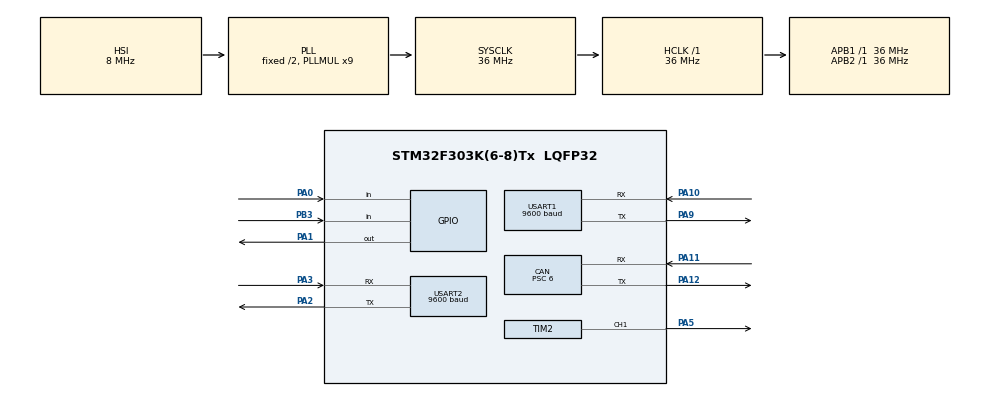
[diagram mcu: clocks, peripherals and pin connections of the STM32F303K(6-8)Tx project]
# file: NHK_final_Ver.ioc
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CAN.BS1=CAN_BS1_3TQ
CAN.BS2=CAN_BS2_2TQ
CAN.CalculateTimeQuantum=166.66666666666669
CAN.Prescaler=6
Mcu.Family=STM32F3
Mcu.Name=STM32F303K(6-8)Tx
Mcu.Package=LQFP32
NVIC.CAN_RX0_IRQn=true\:0\:0\:false\:false\:true\:true\:true
NVIC.PriorityGroup=NVIC_PRIORITYGROUP_4
NVIC.TIM2_IRQn=true\:0\:0\:false\:false\:true\:true\:true
NVIC.TIM6_DAC1_IRQn=true\:0\:0\:false\:false\:true\:true\:true
NVIC.TIM7_DAC2_IRQn=true\:0\:0\:false\:false\:true\:true\:true
NVIC.USART2_IRQn=true\:0\:0\:false\:false\:true\:true\:true
PA0.Signal=GPIO_Input
PA1.Signal=GPIO_Output
PA10.Mode=Asynchronous
PA10.Signal=USART1_RX
PA11.Mode=Master
PA11.Signal=CAN_RX
PA12.Mode=Master
PA12.Signal=CAN_TX
PA2.Mode=Asynchronous
PA2.Signal=USART2_TX
PA3.Mode=Asynchronous
PA3.Signal=USART2_RX
PA5.Signal=S_TIM2_CH1_ETR
PA9.Mode=Asynchronous
PA9.Signal=USART1_TX
PB3.Signal=GPIO_Input
ProjectManager.HeapSize=0x200
ProjectManager.StackSize=0x400
ProjectManager.TargetToolchain=SW4STM32
RCC.AHBFreq_Value=36000000
RCC.APB1Freq_Value=36000000
RCC.APB1TimFreq_Value=36000000
RCC.APB2Freq_Value=36000000
RCC.APB2TimFreq_Value=36000000
RCC.CortexFreq_Value=36000000
RCC.HCLKFreq_Value=36000000
RCC.HSE_VALUE=8000000
RCC.HSI_VALUE=8000000
RCC.PLLMUL=RCC_PLL_MUL9
RCC.SYSCLKFreq_VALUE=36000000
RCC.SYSCLKSourceVirtual=RCC_SYSCLKSOURCE_PLLCLK
SH.S_TIM2_CH1_ETR.0=TIM2_CH1,PWM Generation1 CH1
TIM2.Channel-PWM\ Generation1\ CH1=TIM_CHANNEL_1
TIM2.Period=720-1
TIM2.Prescaler=1000-1
USART1.BaudRate=9600
USART1.VirtualMode-Asynchronous=VM_ASYNC
USART2.BaudRate=9600
USART2.VirtualMode-Asynchronous=VM_ASYNC
VP_TIM2_VS_ClockSourceINT.Mode=Internal
VP_TIM3_VS_ClockSourceINT.Mode=Internal
VP_TIM6_VS_ClockSourceINT.Mode=Enable_Timer
VP_TIM7_VS_ClockSourceINT.Mode=Enable_Timer
board=custom

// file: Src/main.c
/* USER CODE BEGIN Header */
/**
  ******************************************************************************
  * @file           : main.c
  * @brief          : Main program body
  ******************************************************************************
  * @attention
  *
  * <h2><center>&copy; Copyright (c) 2021 STMicroelectronics.
  * All rights reserved.</center></h2>
  *
  * This software component is licensed by ST under BSD 3-Clause license,
  * the "License"; You may not use this file except in compliance with the
  * License. You may obtain a copy of the License at:
  *                        opensource.org/licenses/BSD-3-Clause
  *
  ******************************************************************************
  */
/* USER CODE END Header */
#include "main.h"
#include "can.h"
#include "tim.h"
#include "usart.h"
#include "gpio.h"

/* USER CODE BEGIN Includes */
#include"stm32_printf.h"
#include"ps3.h"
#include "canmd_controller.h"
#include"stm32f4_easy_can.h"
/* USER CODE END Includes */

/* USER CODE BEGIN PV */

	//グロバル変数
 	 static uint8_t uart2_buf[8];
/* USER CODE END PV */

void SystemClock_Config(void);
/* USER CODE BEGIN PFP */
void canmd_status_set_data(int canmd_num,int motor_select,unsigned int DutyOrPid,int p_value,int i_value,int d_value);
/* USER CODE END PFP */

/* USER CODE BEGIN 0 */
	int serve=0;
/* USER CODE END 0 */

int main(void)
{

  /* MCU Configuration--------------------------------------------------------*/

  /* Reset of all peripherals, Initializes the Flash interface and the Systick. */
  HAL_Init();

  /* Configure the system clock */
  SystemClock_Config();

  /* Initialize all configured peripherals */
  MX_GPIO_Init();
  MX_TIM6_Init();
  MX_TIM7_Init();
  MX_CAN_Init();
  MX_USART1_UART_Init();
  MX_USART2_UART_Init();
  MX_TIM3_Init();
  MX_TIM2_Init();
  /* USER CODE BEGIN 2 */

  stm32_printf_init(&huart1);
  HAL_UART_Receive_IT(&huart2,uart2_buf,8);
  canmd_controller_init();
  ps3_init();
  stm32f4_easy_can_init(&hcan,0,0b11111);
  //canmd_controller_clear_all_encoder_count();
  HAL_Delay(500);
  canmd_status_set_data(1,0,0,50,50,50);
  canmd_status_set_data(1,1,0,50,50,50);
  canmd_status_set_data(2,0,0,50,50,50);
  canmd_status_set_data(2,1,0,50,50,50);

  HAL_TIM_Base_Start_IT(&htim6);
  HAL_TIM_Base_Start_IT(&htim7);
  HAL_TIM_Base_Start_IT(&htim3);
  //HAL_TIM_Base_Start_IT(&htim2);
  //HAL_TIM_PWM_Start(&htim2,TIM_CHANNEL_1);
  //if(HAL_TIM_PWM_Start(&htim2,TIM_CHANNEL_1)!=HAL_OK)	Error_Handler();
  /* USER CODE END 2 */

  /* Infinite loop */
  /* USER CODE BEGIN WHILE */
  while (1)
  {

	  int encoder[5][2];

	  Ps3 ps3_data;
	  ps3_get_data(&ps3_data);

	  //エア制御
	  if(ps3_data.sankaku==1)	HAL_GPIO_WritePin(GPIOA,GPIO_PIN_1,SET);
	  if(ps3_data.batsu==1)	HAL_GPIO_WritePin(GPIOA,GPIO_PIN_1,RESET);

	  if(ps3_data.R1==1)	TIM2->CCR1=70;
	  if(ps3_data.R2==1)	TIM2->CCR1=15;

	  /*
	  //CCRは15から83まで
	  for(int i=15;i<=83;i++){
		  TIM2->CCR1=i;
		  HAL_Delay(70);
	  }
	  */
	  /*
	  for(int i=0;i<=720;i++){
		  TIM2->CCR1=i;
	  }
	*/
	  for (int md_id_i = 1; md_id_i <= 4; md_id_i++) {
	   canmd_controller_get_encoder_count(md_id_i, &encoder[md_id_i][0], &encoder[md_id_i][1]);
	  }
	  HAL_Delay(100);
    /* USER CODE END WHILE */

  }
}

void SystemClock_Config(void)
{
  RCC_OscInitTypeDef RCC_OscInitStruct = {0};
  RCC_ClkInitTypeDef RCC_ClkInitStruct = {0};
  RCC_PeriphCLKInitTypeDef PeriphClkInit = {0};

  /** Initializes the RCC Oscillators according to the specified parameters
  * in the RCC_OscInitTypeDef structure.
  */
  RCC_OscInitStruct.OscillatorType = RCC_OSCILLATORTYPE_HSI;
  RCC_OscInitStruct.HSIState = RCC_HSI_ON;
  RCC_OscInitStruct.HSICalibrationValue = RCC_HSICALIBRATION_DEFAULT;
  RCC_OscInitStruct.PLL.PLLState = RCC_PLL_ON;
  RCC_OscInitStruct.PLL.PLLSource = RCC_PLLSOURCE_HSI;
  RCC_OscInitStruct.PLL.PLLMUL = RCC_PLL_MUL9;
  if (HAL_RCC_OscConfig(&RCC_OscInitStruct) != HAL_OK)
  {
    Error_Handler();
  }
  /** Initializes the CPU, AHB and APB buses clocks
  */
  RCC_ClkInitStruct.ClockType = RCC_CLOCKTYPE_HCLK|RCC_CLOCKTYPE_SYSCLK
                              |RCC_CLOCKTYPE_PCLK1|RCC_CLOCKTYPE_PCLK2;
  RCC_ClkInitStruct.SYSCLKSource = RCC_SYSCLKSOURCE_PLLCLK;
  RCC_ClkInitStruct.AHBCLKDivider = RCC_SYSCLK_DIV1;
  RCC_ClkInitStruct.APB1CLKDivider = RCC_HCLK_DIV1;
  RCC_ClkInitStruct.APB2CLKDivider = RCC_HCLK_DIV1;

  if (HAL_RCC_ClockConfig(&RCC_ClkInitStruct, FLASH_LATENCY_1) != HAL_OK)
  {
    Error_Handler();
  }
  PeriphClkInit.PeriphClockSelection = RCC_PERIPHCLK_USART1;
  PeriphClkInit.Usart1ClockSelection = RCC_USART1CLKSOURCE_PCLK1;
  if (HAL_RCCEx_PeriphCLKConfig(&PeriphClkInit) != HAL_OK)
  {
    Error_Handler();
  }
}

/* USER CODE BEGIN 4 */

	//UART受信割り込み関数

	void HAL_UART_RxCpltCallback(UART_HandleTypeDef *huart)
		{
			if(huart->Instance == huart2.Instance) {
				ps3_uart_interrupt_routine(uart2_buf,8);
				HAL_UART_Receive_IT(&huart2,uart2_buf,8);
			}
		}

	void canmd_status_set_data(int canmd_num,int motor_select,unsigned int DutyOrPid,int p_value,int i_value,int d_value)
		{
			int id;
			int dlc = 4;
			unsigned char data[8];

			id = canmd_num;

			data[0] = ((motor_select << 6) & 0b11000000 ) | DutyOrPid;
			data[1] = p_value & 0XFF;
			data[2] = i_value & 0XFF;
			data[3] = d_value & 0XFF;

			HAL_Delay(100);

			stm32f4_easy_can_transmit_message(id, dlc, data);
		}

	void stm32f3_easy_can_interrupt_handler(void)
		{
			int id;
			int dlc;
			unsigned char data[8];

			stm32f4_easy_can_get_receive_message(&id, &dlc, data);

			canmd_controller_set_can_receive_data(id, dlc,data);
		}

	void HAL_TIM_PeriodElapsedCallback(TIM_HandleTypeDef *htim){

		if(htim->Instance == TIM6){

			int motor_output[CANMD_MD_NUM+1][2]={};
			int id =1;

			Ps3 ps3_data;
			ps3_get_data(&ps3_data);

			//制御処理開始
			int DC_motor01=0;
			int DC_motor02=0;
			int DC_motor03=0;

			if(ps3_data.L1==1)	DC_motor01=1000;

			if(ps3_data.shikaku==1)	DC_motor03=-500;
			if(ps3_data.maru==1)	DC_motor03=500;

			if(ps3_data.up==1)	DC_motor02=500;
			if(ps3_data.down==1)	DC_motor02=-500;

			/*
			if(HAL_GPIO_ReadPin(GPIOA,GPIO_PIN_0)==0){
				if(ps3_data.up==1)	DC_motor02=300;
			}
			if(HAL_GPIO_ReadPin(GPIOB,GPIO_PIN_3)==0){
				if(ps3_data.down==1)	DC_motor02=-300;
			}
			*/

			motor_output[1][1]=DC_motor02;
			motor_output[1][0]=DC_motor03;
			motor_output[2][0]=DC_motor01;
			motor_output[2][1]=DC_motor01;

			/*
			motor_output[1][1]=500;
			motor_output[1][0]=500;
			motor_output[2][0]=500;
			motor_output[2][1]=500;
			*/

			for(id = 1; id <(CANMD_MD_NUM + 1);id++){
				canmd_controller_set_motor_control_data(id,motor_output[id][0],motor_output[id][1]);
			}

		}
		if(htim->Instance == TIM7){
			 int id = 1;
			 int dlc =3;
			 unsigned char data[8];

			 canmd_controller_get_can_transmit_data(&id, &dlc, data);
			 stm32f4_easy_can_transmit_message(id,dlc,data);
		}
	}

/* USER CODE END 4 */

void Error_Handler(void)
{
}

/************************ (C) COPYRIGHT STMicroelectronics *****END OF FILE****/
